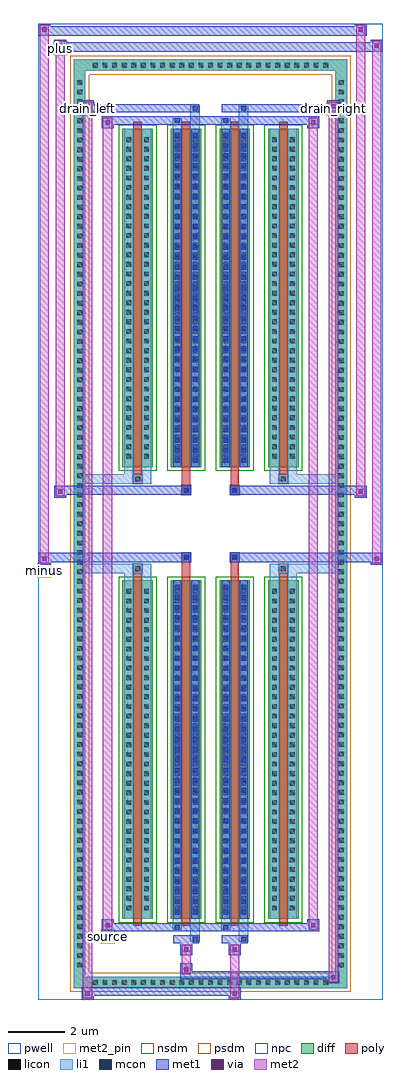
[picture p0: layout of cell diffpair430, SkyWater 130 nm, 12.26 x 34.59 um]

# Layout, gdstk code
import gdstk
lib = gdstk.Library(unit=1e-6, precision=5e-09)
def R(c, l, rs):  # rectangles x0, y0, x1, y1
    for r in rs: c.add(gdstk.rectangle(r[:2], r[2:], *l))
def A(c, l, x, y, w, h, nx, ny, dx, dy):  # array of equal rectangles
    R(c, l, [(x+i*dx, y+j*dy, x+i*dx+w, y+j*dy+h) for i in range(nx) for j in range(ny)])
def P(c, l, *ps):  # polygons
    for p in ps: c.add(gdstk.Polygon(p, *l))
pwell = (64, 44)
diff = (65, 20)
poly = (66, 20)
licon = (66, 44)
li1 = (67, 20)
mcon = (67, 44)
met1 = (68, 20)
via = (68, 44)
met2_pin = (69, 16)
met2 = (69, 20)
nsdm = (93, 44)
psdm = (94, 20)
npc = (95, 20)

diffpair430 = lib.new_cell('diffpair430')
R(diffpair430, pwell, [(-6.11,-16.86,6.11,17.73), (-3.43,-15.05,-0.01,-0.825), (0.01,-15.05,3.43,-0.825), (-3.43,0.825,-0.01,15.05), (0.01,0.825,3.43,15.05)])
A(diffpair430, diff, -4.285, -16.46, 0.41, 0.41, 25, 2, 0.34, 32.51)
A(diffpair430, diff, -4.84, -15.845, 0.41, 0.41, 1, 93, 0, 0.34)
A(diffpair430, diff, 4.43, -15.845, 0.41, 0.41, 1, 93, 0, 0.34)
A(diffpair430, diff, -3.12, -14.005, 1.08, 12, 4, 2, 1.72, 16.01)
R(diffpair430, diff, [(-4.285,-16.46,4.285,-16.05), (-4.84,-15.845,-4.43,15.845), (4.43,-15.845,4.84,15.845), (-4.285,16.05,4.285,16.46)])
P(diffpair430, diff, [(4.84,16.46),(-4.84,16.46),(-4.84,-16.05),(-4.43,-16.05),(-4.43,16.05),(4.43,16.05),(4.43,-16.05),(-4.43,-16.05),(-4.84,-16.05),(-4.84,-16.46),(4.84,-16.46)])
A(diffpair430, poly, -2.73, -14.255, 0.3, 12.5, 4, 2, 1.72, 16.01)
R(diffpair430, poly, [(-2.745,-1.755,-2.415,-1.425), (-2.745,-1.755,-2.415,-1.425), (-1.01,-1.755,-0.71,-1.355), (0.71,-1.755,1.01,-1.355), (2.415,-1.755,2.745,-1.425), (2.415,-1.755,2.745,-1.425), (-1.025,-1.355,-0.695,-1.025), (-1.025,-1.355,-0.695,-1.025), (0.695,-1.355,1.025,-1.025), (0.695,-1.355,1.025,-1.025), (-1.025,1.025,-0.695,1.355), (-1.025,1.025,-0.695,1.355), (0.695,1.025,1.025,1.355), (0.695,1.025,1.025,1.355), (-1.01,1.355,-0.71,1.755), (0.71,1.355,1.01,1.755), (-2.745,1.425,-2.415,1.755), (-2.745,1.425,-2.415,1.755), (2.415,1.425,2.745,1.755), (2.415,1.425,2.745,1.755)])
A(diffpair430, licon, -4.165, -16.34, 0.17, 0.17, 25, 2, 0.34, 32.51)
A(diffpair430, licon, -4.72, -15.725, 0.17, 0.17, 1, 93, 0, 0.34)
A(diffpair430, licon, 4.55, -15.725, 0.17, 0.17, 1, 93, 0, 0.34)
A(diffpair430, licon, -2.98, -13.7, 0.17, 0.17, 1, 34, 0, 0.34)
A(diffpair430, licon, -2.35, -13.7, 0.17, 0.17, 1, 34, 0, 0.34)
A(diffpair430, licon, -1.26, -13.7, 0.17, 0.17, 1, 34, 0, 0.34)
A(diffpair430, licon, -0.63, -13.7, 0.17, 0.17, 1, 34, 0, 0.34)
A(diffpair430, licon, 0.46, -13.7, 0.17, 0.17, 1, 34, 0, 0.34)
A(diffpair430, licon, 1.09, -13.7, 0.17, 0.17, 1, 34, 0, 0.34)
A(diffpair430, licon, 2.18, -13.7, 0.17, 0.17, 1, 34, 0, 0.34)
A(diffpair430, licon, 2.81, -13.7, 0.17, 0.17, 1, 34, 0, 0.34)
A(diffpair430, licon, -2.98, 2.31, 0.17, 0.17, 1, 34, 0, 0.34)
A(diffpair430, licon, -2.35, 2.31, 0.17, 0.17, 1, 34, 0, 0.34)
A(diffpair430, licon, -1.26, 2.31, 0.17, 0.17, 1, 34, 0, 0.34)
A(diffpair430, licon, -0.63, 2.31, 0.17, 0.17, 1, 34, 0, 0.34)
A(diffpair430, licon, 0.46, 2.31, 0.17, 0.17, 1, 34, 0, 0.34)
A(diffpair430, licon, 1.09, 2.31, 0.17, 0.17, 1, 34, 0, 0.34)
A(diffpair430, licon, 2.18, 2.31, 0.17, 0.17, 1, 34, 0, 0.34)
A(diffpair430, licon, 2.81, 2.31, 0.17, 0.17, 1, 34, 0, 0.34)
R(diffpair430, licon, [(-2.665,-1.675,-2.495,-1.505), (2.495,-1.675,2.665,-1.505), (-0.945,-1.275,-0.775,-1.105), (0.775,-1.275,0.945,-1.105), (-0.945,1.105,-0.775,1.275), (0.775,1.105,0.945,1.275), (-2.665,1.505,-2.495,1.675), (2.495,1.505,2.665,1.675)])
A(diffpair430, li1, -4.245, -16.42, 0.33, 0.33, 25, 2, 0.34, 32.51)
A(diffpair430, li1, -4.8, -15.805, 0.33, 0.33, 1, 93, 0, 0.34)
A(diffpair430, li1, 4.47, -15.805, 0.33, 0.33, 1, 93, 0, 0.34)
A(diffpair430, li1, -1.26, -13.85, 0.17, 0.17, 1, 33, 0, 0.36)
A(diffpair430, li1, -0.63, -13.85, 0.17, 0.17, 1, 33, 0, 0.36)
A(diffpair430, li1, 0.46, -13.85, 0.17, 0.17, 1, 33, 0, 0.36)
A(diffpair430, li1, 1.09, -13.85, 0.17, 0.17, 1, 33, 0, 0.36)
A(diffpair430, li1, -3.06, -13.78, 0.33, 0.33, 1, 34, 0, 0.34)
A(diffpair430, li1, -2.43, -13.78, 0.33, 0.33, 1, 34, 0, 0.34)
A(diffpair430, li1, -1.34, -13.78, 0.33, 0.33, 1, 34, 0, 0.34)
A(diffpair430, li1, -0.71, -13.78, 0.33, 0.33, 1, 34, 0, 0.34)
A(diffpair430, li1, 0.38, -13.78, 0.33, 0.33, 1, 34, 0, 0.34)
A(diffpair430, li1, 1.01, -13.78, 0.33, 0.33, 1, 34, 0, 0.34)
A(diffpair430, li1, 2.1, -13.78, 0.33, 0.33, 1, 34, 0, 0.34)
A(diffpair430, li1, 2.73, -13.78, 0.33, 0.33, 1, 34, 0, 0.34)
A(diffpair430, li1, -1.26, 2.16, 0.17, 0.17, 1, 33, 0, 0.36)
A(diffpair430, li1, -0.63, 2.16, 0.17, 0.17, 1, 33, 0, 0.36)
A(diffpair430, li1, 0.46, 2.16, 0.17, 0.17, 1, 33, 0, 0.36)
A(diffpair430, li1, 1.09, 2.16, 0.17, 0.17, 1, 33, 0, 0.36)
A(diffpair430, li1, -3.06, 2.23, 0.33, 0.33, 1, 34, 0, 0.34)
A(diffpair430, li1, -2.43, 2.23, 0.33, 0.33, 1, 34, 0, 0.34)
A(diffpair430, li1, -1.34, 2.23, 0.33, 0.33, 1, 34, 0, 0.34)
A(diffpair430, li1, -0.71, 2.23, 0.33, 0.33, 1, 34, 0, 0.34)
A(diffpair430, li1, 0.38, 2.23, 0.33, 0.33, 1, 34, 0, 0.34)
A(diffpair430, li1, 1.01, 2.23, 0.33, 0.33, 1, 34, 0, 0.34)
A(diffpair430, li1, 2.1, 2.23, 0.33, 0.33, 1, 34, 0, 0.34)
A(diffpair430, li1, 2.73, 2.23, 0.33, 0.33, 1, 34, 0, 0.34)
R(diffpair430, li1, [(-4.84,-16.46,-4.43,-16.05), (-4.84,-16.46,-4.43,-16.05), (-4.43,-16.46,4.43,-16.05), (4.43,-16.46,4.84,-16.05), (4.43,-16.46,4.84,-16.05), (-4.84,-16.05,-4.43,16.05), (4.43,-16.05,4.84,16.05), (-0.71,-14.81,-0.38,-14.005), (-0.63,-14.81,-0.46,-14.64), (1.01,-14.81,1.34,-14.005), (1.09,-14.81,1.26,-14.64), (-1.34,-14.38,-1.01,-14.005), (-1.26,-14.38,-1.09,-14.21), (0.38,-14.38,0.71,-14.005), (0.46,-14.38,0.63,-14.21), (-3.06,-14.005,-2.73,-2.005), (-2.43,-14.005,-2.1,-2.005), (-1.34,-14.005,-1.01,-2.005), (-0.71,-14.005,-0.38,-2.005), (0.38,-14.005,0.71,-2.005), (1.01,-14.005,1.34,-2.005), (2.1,-14.005,2.43,-2.005), (2.73,-14.005,3.06,-2.005), (-1.26,-13.85,-1.09,-2.16), (-0.63,-13.85,-0.46,-2.16), (0.46,-13.85,0.63,-2.16), (1.09,-13.85,1.26,-2.16), (-3.06,-2.005,-2.73,-1.425), (-2.43,-2.005,-2.1,-1.425), (2.1,-2.005,2.43,-1.425), (2.73,-2.005,3.06,-1.425), (-4.84,-1.755,-2.745,-1.425), (-3.06,-1.755,-2.745,-1.425), (-2.745,-1.755,-2.415,-1.425), (-2.415,-1.755,-2.1,-1.425), (2.1,-1.755,2.415,-1.425), (2.415,-1.755,2.745,-1.425), (2.415,-1.755,4.84,-1.425), (2.745,-1.755,3.06,-1.425), (-1.025,-1.355,-0.695,-1.025), (0.695,-1.355,1.025,-1.025), (-1.025,1.025,-0.695,1.355), (0.695,1.025,1.025,1.355), (-4.84,1.425,-2.745,1.755), (-3.06,1.425,-2.745,1.755), (-3.06,1.425,-2.73,2.005), (-2.745,1.425,-2.415,1.755), (-2.43,1.425,-2.1,2.005), (-2.415,1.425,-2.1,1.755), (2.1,1.425,2.415,1.755), (2.1,1.425,2.43,2.005), (2.415,1.425,2.745,1.755), (2.415,1.425,4.84,1.755), (2.73,1.425,3.06,2.005), (2.745,1.425,3.06,1.755), (-3.06,2.005,-2.73,14.005), (-2.43,2.005,-2.1,14.005), (-1.34,2.005,-1.01,14.005), (-0.71,2.005,-0.38,14.005), (0.38,2.005,0.71,14.005), (1.01,2.005,1.34,14.005), (2.1,2.005,2.43,14.005), (2.73,2.005,3.06,14.005), (-1.26,2.16,-1.09,13.85), (-0.63,2.16,-0.46,13.85), (0.46,2.16,0.63,13.85), (1.09,2.16,1.26,13.85), (-1.34,14.005,-1.01,14.38), (-0.71,14.005,-0.38,14.81), (0.38,14.005,0.71,14.38), (1.01,14.005,1.34,14.81), (-1.26,14.21,-1.09,14.38), (0.46,14.21,0.63,14.38), (-0.63,14.64,-0.46,14.81), (1.09,14.64,1.26,14.81), (-4.84,16.05,-4.43,16.46), (-4.84,16.05,-4.43,16.46), (-4.43,16.05,4.43,16.46), (4.43,16.05,4.84,16.46), (4.43,16.05,4.84,16.46)])
A(diffpair430, mcon, -1.26, -13.85, 0.17, 0.17, 1, 33, 0, 0.36)
A(diffpair430, mcon, -0.63, -13.85, 0.17, 0.17, 1, 33, 0, 0.36)
A(diffpair430, mcon, 0.46, -13.85, 0.17, 0.17, 1, 33, 0, 0.36)
A(diffpair430, mcon, 1.09, -13.85, 0.17, 0.17, 1, 33, 0, 0.36)
A(diffpair430, mcon, -1.26, 2.16, 0.17, 0.17, 1, 33, 0, 0.36)
A(diffpair430, mcon, -0.63, 2.16, 0.17, 0.17, 1, 33, 0, 0.36)
A(diffpair430, mcon, 0.46, 2.16, 0.17, 0.17, 1, 33, 0, 0.36)
A(diffpair430, mcon, 1.09, 2.16, 0.17, 0.17, 1, 33, 0, 0.36)
R(diffpair430, mcon, [(-0.63,-14.81,-0.46,-14.64), (1.09,-14.81,1.26,-14.64), (-1.26,-14.38,-1.09,-14.21), (0.46,-14.38,0.63,-14.21), (-0.945,-1.275,-0.775,-1.105), (0.775,-1.275,0.945,-1.105), (-0.945,1.105,-0.775,1.275), (0.775,1.105,0.945,1.275), (-1.26,14.21,-1.09,14.38), (0.46,14.21,0.63,14.38), (-0.63,14.64,-0.46,14.81), (1.09,14.64,1.26,14.81)])
A(diffpair430, met1, -1.32, -13.91, 0.29, 0.29, 1, 33, 0, 0.36)
A(diffpair430, met1, -0.69, -13.91, 0.29, 0.29, 1, 33, 0, 0.36)
A(diffpair430, met1, 0.4, -13.91, 0.29, 0.29, 1, 33, 0, 0.36)
A(diffpair430, met1, 1.03, -13.91, 0.29, 0.29, 1, 33, 0, 0.36)
A(diffpair430, met1, -1.32, 2.1, 0.29, 0.29, 1, 33, 0, 0.36)
A(diffpair430, met1, -0.69, 2.1, 0.29, 0.29, 1, 33, 0, 0.36)
A(diffpair430, met1, 0.4, 2.1, 0.29, 0.29, 1, 33, 0, 0.36)
A(diffpair430, met1, 1.03, 2.1, 0.29, 0.29, 1, 33, 0, 0.36)
R(diffpair430, met1, [(-4.57,-16.86,-4.14,-16.43), (0.645,-16.86,1.075,-16.43), (-4.57,-16.72,1.075,-16.43), (4.14,-16.29,4.57,-15.86), (-1.075,-16.15,4.57,-15.86), (-1.075,-16.01,-0.645,-15.58), (-1.075,-15.3,-0.645,-14.87), (0.645,-15.3,1.075,-14.87), (-1.32,-14.87,-0.4,-14.58), (-0.69,-14.87,-0.4,-14.58), (0.4,-14.87,1.32,-14.58), (1.03,-14.87,1.32,-14.58), (-3.86,-14.44,-3.43,-14.01), (-3.86,-14.44,-1.32,-14.15), (-1.32,-14.44,-1.03,-14.15), (-1.32,-14.44,-0.4,-14.15), (-0.4,-14.44,0.4,-14.15), (0.4,-14.44,0.69,-14.15), (0.4,-14.44,1.32,-14.15), (1.32,-14.44,3.86,-14.15), (3.43,-14.44,3.86,-14.01), (-1.32,-14.005,-1.03,-2.005), (-0.69,-14.005,-0.4,-2.005), (0.4,-14.005,0.69,-2.005), (1.03,-14.005,1.32,-2.005), (-6.11,-1.455,-5.68,-1.025), (5.68,-1.455,6.11,-1.025), (-6.11,-1.355,-0.695,-1.025), (-1.025,-1.355,-0.695,-1.025), (0.695,-1.355,1.025,-1.025), (0.695,-1.355,6.11,-1.025), (-1.005,-1.335,-0.715,-1.045), (0.715,-1.335,1.005,-1.045), (-5.54,0.925,-5.11,1.355), (5.11,0.925,5.54,1.355), (-5.54,1.025,-1.025,1.355), (-1.025,1.025,-0.695,1.355), (0.695,1.025,1.025,1.355), (1.025,1.025,5.54,1.355), (-1.005,1.045,-0.715,1.335), (0.715,1.045,1.005,1.335), (-1.32,2.005,-1.03,14.005), (-0.69,2.005,-0.4,14.005), (0.4,2.005,0.69,14.005), (1.03,2.005,1.32,14.005), (-3.86,14.01,-3.43,14.44), (3.43,14.01,3.86,14.44), (-3.86,14.15,-1.32,14.44), (-1.32,14.15,-1.03,14.44), (-1.32,14.15,-0.4,14.44), (-0.4,14.15,0.4,14.44), (0.4,14.15,0.69,14.44), (0.4,14.15,1.32,14.44), (1.32,14.15,3.86,14.44), (-4.57,14.58,-4.14,15.01), (-4.57,14.58,-1.32,14.87), (-1.32,14.58,-0.4,14.87), (-0.69,14.58,-0.4,14.87), (0.4,14.58,1.32,14.87), (1.03,14.58,1.32,14.87), (1.32,14.58,4.57,14.87), (4.14,14.58,4.57,15.01), (-5.54,16.73,-5.11,17.16), (-5.54,16.73,-3.43,17.06), (-3.43,16.73,3.43,17.06), (3.43,16.73,6.11,17.06), (5.68,16.73,6.11,17.16), (-6.11,17.3,-5.68,17.73), (-6.11,17.3,-3.43,17.63), (-3.43,17.3,3.43,17.63), (3.43,17.3,5.54,17.63), (5.11,17.3,5.54,17.73)])
R(diffpair430, via, [(-4.43,-16.72,-4.28,-16.57), (0.785,-16.72,0.935,-16.57), (4.28,-16.15,4.43,-16), (-0.935,-15.87,-0.785,-15.72), (-0.935,-15.16,-0.785,-15.01), (0.785,-15.16,0.935,-15.01), (-3.72,-14.3,-3.57,-14.15), (3.57,-14.3,3.72,-14.15), (-5.97,-1.315,-5.82,-1.165), (5.82,-1.315,5.97,-1.165), (-5.4,1.065,-5.25,1.215), (5.25,1.065,5.4,1.215), (-3.72,14.15,-3.57,14.3), (3.57,14.15,3.72,14.3), (-4.43,14.72,-4.28,14.87), (4.28,14.72,4.43,14.87), (-5.4,16.87,-5.25,17.02), (5.82,16.87,5.97,17.02), (-5.97,17.44,-5.82,17.59), (5.25,17.44,5.4,17.59)])
R(diffpair430, met2_pin, [(-3.895,-14.89,-3.395,-14.39), (-6.145,-1.905,-5.645,-1.405), (-4.605,14.46,-4.105,14.96), (4.105,14.46,4.605,14.96), (-5.575,16.61,-5.075,17.11)])
R(diffpair430, met2, [(-4.52,-16.81,-4.19,-16.48), (-4.52,-16.81,-4.19,14.96), (0.695,-16.81,1.025,-16.48), (0.695,-16.48,1.025,-15.25), (4.19,-16.24,4.52,-15.91), (4.19,-16.24,4.52,14.96), (-1.025,-15.96,-0.695,-15.63), (-1.025,-15.63,-0.695,-15.25), (-1.025,-15.25,-0.695,-14.92), (0.695,-15.25,1.025,-14.92), (-3.81,-14.39,-3.48,-14.06), (-3.81,-14.39,-3.48,14.39), (3.48,-14.39,3.81,-14.06), (3.48,-14.39,3.81,14.39), (-6.06,-1.405,-5.73,-1.075), (-6.06,-1.405,-5.73,17.68), (5.73,-1.405,6.06,-1.075), (5.73,-1.405,6.06,17.11), (-5.49,0.975,-5.16,1.305), (-5.49,0.975,-5.16,17.11), (5.16,0.975,5.49,1.305), (5.16,0.975,5.49,17.68), (-3.81,14.06,-3.48,14.39), (3.48,14.06,3.81,14.39), (-4.52,14.63,-4.19,14.96), (4.19,14.63,4.52,14.96), (-5.49,16.78,-5.16,17.11), (5.73,16.78,6.06,17.11), (-6.06,17.35,-5.73,17.68), (5.16,17.35,5.49,17.68)])
P(diffpair430, met2, [(6.06,-1.405),(6.06,-1.405),(6.06,-1.075),(6.06,-1.075)],
  [(6.06,16.78),(6.06,16.78),(6.06,17.11),(6.06,17.11)],
  [(-5.73,-1.405),(-5.73,-1.405),(-5.73,-1.075),(-5.73,-1.075)],
  [(-5.73,17.35),(-5.73,17.35),(-5.73,17.68),(-5.73,17.68)],
  [(5.49,0.975),(5.49,0.975),(5.49,1.305),(5.49,1.305)],
  [(5.49,17.35),(5.49,17.35),(5.49,17.68),(5.49,17.68)],
  [(-5.16,0.975),(-5.16,0.975),(-5.16,1.305),(-5.16,1.305)],
  [(-5.16,16.78),(-5.16,16.78),(-5.16,17.11),(-5.16,17.11)],
  [(-4.19,-16.81),(-4.19,-16.81),(-4.19,-16.48),(-4.19,-16.48)],
  [(-4.19,14.63),(-4.19,14.63),(-4.19,14.96),(-4.19,14.96)],
  [(4.52,-16.24),(4.52,-16.24),(4.52,-15.91),(4.52,-15.91)],
  [(4.52,14.63),(4.52,14.63),(4.52,14.96),(4.52,14.96)],
  [(-3.48,-14.39),(-3.48,-14.39),(-3.48,-14.06),(-3.48,-14.06)],
  [(-3.48,14.06),(-3.48,14.06),(-3.48,14.39),(-3.48,14.39)],
  [(3.81,-14.39),(3.81,-14.39),(3.81,-14.06),(3.81,-14.06)],
  [(3.81,14.06),(3.81,14.06),(3.81,14.39),(3.81,14.39)])
A(diffpair430, nsdm, -3.25, -14.135, 1.34, 12.26, 4, 2, 1.72, 16.01)
P(diffpair430, psdm, [(4.97,16.59),(-4.97,16.59),(-4.97,-15.92),(-4.3,-15.92),(-4.3,15.92),(4.3,15.92),(4.3,-15.92),(-4.3,-15.92),(-4.97,-15.92),(-4.97,-16.59),(4.97,-16.59)])
R(diffpair430, npc, [(-2.765,-1.775,-2.395,-1.405), (2.395,-1.775,2.765,-1.405), (-1.045,-1.375,-0.675,-1.005), (0.675,-1.375,1.045,-1.005), (-1.045,1.005,-0.675,1.375), (0.675,1.005,1.045,1.375), (-2.765,1.405,-2.395,1.775), (2.395,1.405,2.765,1.775)])
diffpair430.add(gdstk.Label('minus', (-5.895,-1.655), layer=69, texttype=5))
diffpair430.add(gdstk.Label('drain_right', (4.355,14.71), layer=69, texttype=5))
diffpair430.add(gdstk.Label('drain_left', (-4.355,14.71), layer=69, texttype=5))
diffpair430.add(gdstk.Label('source', (-3.645,-14.64), layer=69, texttype=5))
diffpair430.add(gdstk.Label('plus', (-5.325,16.86), layer=69, texttype=5))

lib.write_gds('diffpair430.gds')
